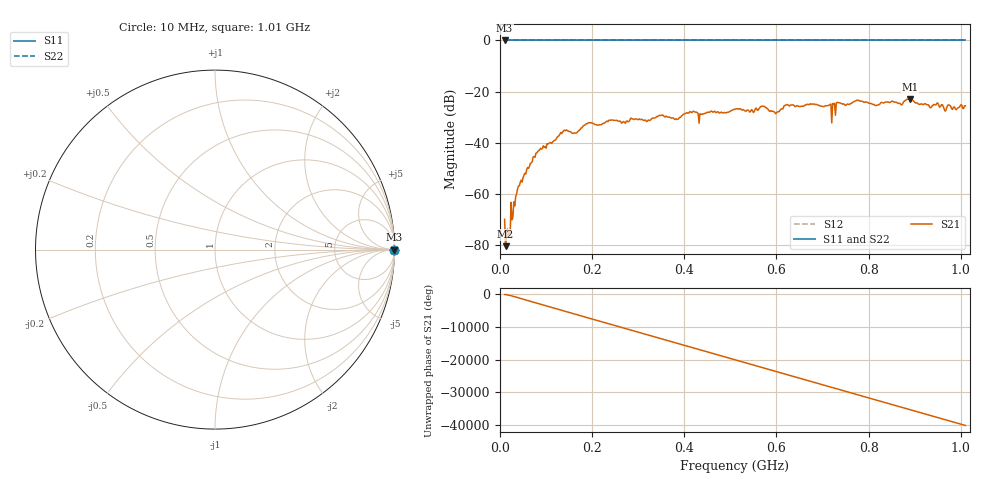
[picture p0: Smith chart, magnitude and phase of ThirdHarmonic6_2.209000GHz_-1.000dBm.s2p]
! 8/17/2025 2:19:24 AM
! C:\ANRITSUVNA\TEMP\TEMP.S2P
! CHANNEL.1
! TR.MEASUREMENT
! RAW.DATA
! RF.CORRECTION.OFF
! AVERAGING.OFF
! IF.BANDWIDTH: 5KHZ
! SWEEPTYPE:  FREQ.SWEEP(Linear)
! Reference Plane Port Info
! PORT:  PORT1  PORT2
! DISTANCE:  0  m  0  m
! TIME:  0  s  0  s
! PHASE.OFFSET:  0  deg.  0  deg.
! LOSS:  0  dB  0  dB
! REF.LOSS:  0  dB  0  dB
! REF.FREQ:  0  Hz  0  Hz
! Power Info
! POWER:  -20  dBm  -20  dBm
! EFF.POWER:  -20  dBm  -20  dBm
! SOURCE.ATTEN:  0  dB  0  dB
! TEST.ATTEN:  0  dB  0  dB
# GHZ S RI R 50.0
! FREQ.GHZ  S11RE  S11IM  S21RE  S21IM  S12RE  S12IM  S22RE  S22IM
!; PortSelection: Port_12
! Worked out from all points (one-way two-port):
!   501 points, 10 MHz to 1.01 GHz, reference 50 ohm
!   highest |S21| = -22.91 dB at 890 MHz (marker M1); lowest = -80.5 dB at 12 MHz (marker M2)
!   lowest |S11| = 0.0 dB at 10 MHz (marker M3)
!   |S11| at or under -10 dB: nowhere
!   |S22| runs from 0.0 to 0.0 dB; largest |S21 - S12| = 1.1
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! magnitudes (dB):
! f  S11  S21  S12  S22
! 10 MHz  0.0  -70.0  0.0  0.0
! 12 MHz  0.0  -80.5  0.0  0.0
! 18 MHz  0.0  -76.7  0.0  0.0
! 42 MHz  0.0  -56.9  0.0  0.0
! 82 MHz  0.0  -43.4  0.0  0.0
! 140 MHz  0.0  -35.1  0.0  0.0
! 178 MHz  0.0  -34.1  0.0  0.0
! 344 MHz  0.0  -29.6  0.0  0.0
! 382 MHz  0.0  -30.7  0.0  0.0
! 416 MHz  0.0  -28.2  0.0  0.0
! 436 MHz  0.0  -28.9  0.0  0.0
! 510 MHz  0.0  -26.9  0.0  0.0
! 570 MHz  0.0  -25.7  0.0  0.0
! 600 MHz  0.0  -28.3  0.0  0.0
! 620 MHz  0.0  -25.4  0.0  0.0
! 678 MHz  0.0  -24.9  0.0  0.0
! 724 MHz  0.0  -24.8  0.0  0.0
! 734 MHz  0.0  -24.3  0.0  0.0
! 844 MHz  0.0  -24.2  0.0  0.0
! 890 MHz  0.0  -22.9  0.0  0.0
! 966 MHz  0.0  -27.7  0.0  0.0
! 1.01 GHz  0.0  -25.6  0.0  0.0
